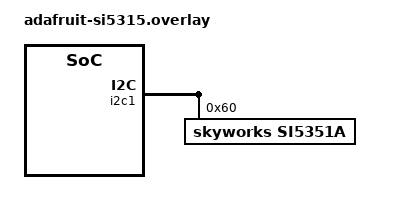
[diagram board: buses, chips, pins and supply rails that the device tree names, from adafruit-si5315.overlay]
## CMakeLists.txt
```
# SPDX-License-Identifier: Apache-2.0

cmake_minimum_required(VERSION 3.20.0)

# Set default board for west build when not specified on command line
set(BOARD esp32s3_devkitm/esp32s3/procpu CACHE STRING "Board target")

find_package(Zephyr REQUIRED HINTS $ENV{ZEPHYR_BASE})
project(si5351)

target_include_directories(app PRIVATE ${CMAKE_CURRENT_SOURCE_DIR}/src)

target_sources(app PRIVATE
  src/Si5351.cpp
  src/AD9850.cpp
  src/main.cpp
  src/shell-commands.cpp
)

# Custom target for flashing remote target machine over SSH
set(toolsDirPath "${CMAKE_CURRENT_SOURCE_DIR}/tools")
set(flashScriptPath "${toolsDirPath}/remote-flash.sh")

add_custom_target(remoteFlash
  COMMAND bash ${flashScriptPath} zephyr/zephyr.bin
  WORKING_DIRECTORY ${CMAKE_BINARY_DIR}
  DEPENDS zephyr_final
)
```

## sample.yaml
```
sample:
  name: Si5351
tests:
  si5351:
    tags:
      - LED
      - gpio
    filter: dt_enabled_alias_with_parent_compat("led0", "gpio-leds")
    depends_on: gpio
    harness: led
    integration_platforms:
      - frdm_k64f
```

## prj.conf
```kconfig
# Zephyr Configuration for Si5351 Testbed
# Target: ESP32-C3
# Standard: C++20

CONFIG_MAIN_STACK_SIZE=4096
CONFIG_SHELL_STACK_SIZE=4096
CONFIG_HEAP_MEM_POOL_SIZE=8192

# C++20 support
CONFIG_CPP=y
CONFIG_STD_CPP20=y
CONFIG_GLIBCXX_LIBCPP=y

# Console & Shell
CONFIG_CONSOLE=y
CONFIG_UART_CONSOLE=y
CONFIG_SHELL=y
CONFIG_SHELL_PROMPT_UART="si5351:~$ "

# Peripherals
CONFIG_GPIO=y
CONFIG_I2C=y
CONFIG_I2C_SHELL=y

# Formatting / Printf
CONFIG_CBPRINTF_FP_SUPPORT=y
```

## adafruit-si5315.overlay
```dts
&i2c1 {

  si5351a: si5351a@60 {
    label = "SI5351A";
    compatible = "skyworks,si5351a";
    reg = <0x60>;
    size = <256>;
    status = "okay";
  };
};

target_si5351a: &si5151a{};
```

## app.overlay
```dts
/*
 * Devicetree overlay for Si5351A on ESP32-C3
 * Custom hardware pin mapping: SCL -> GPIO4, SDA -> GPIO5
 */

#include <zephyr/dt-bindings/pinctrl/esp-pinctrl-common.h>
#include <dt-bindings/pinctrl/esp32s3-pinctrl.h>

/ {
	chosen {
		zephyr,console = &usb_serial;
		zephyr,shell-uart = &usb_serial;
	};
};

&usb_serial {
	status = "okay";
};

&pinctrl {
	i2c0_custom: i2c0_custom {
		group1 {
			pinmux = <I2C0_SCL_GPIO4>,
				 <I2C0_SDA_GPIO5>;
			bias-pull-up;
			drive-open-drain;
			output-high;
		};
	};
};

&i2c0 {
	status = "okay";
	clock-frequency = <I2C_BITRATE_STANDARD>;
	pinctrl-0 = <&i2c0_custom>;
	pinctrl-names = "default";

	si5351a: si5351a@60 {
		compatible = "skyworks,si5351a";
		reg = <0x60>;
		status = "okay";
	};
};
```

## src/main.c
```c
#include <stdio.h>
#include <zephyr/kernel.h>
#include <zephyr/device.h>
#include <zephyr/drivers/i2c.h>

// I2C bus address of the SI5351A
enum {
  SI5351_I2C_ADDRESS = 0x60,
};

// I2C addresses within the SI5351A.
enum {
  SI5351_deviceStatus = 0,
};


static const struct device *i2cDev = DEVICE_DT_GET(DT_NODELABEL(i2c1));


// NOTE: I2C is not thread safe.
int main(void) {
  int st;

  if (i2cDev == NULL || !device_is_ready(i2cDev)) {
    printf("Could not get I2C device\n");
    return -1;
  }

  uint8_t devStatus = 0;
  st = i2c_reg_read_byte(i2cDev, SI5351_I2C_ADDRESS, SI5351_deviceStatus, &devStatus);

  if (st) {
    printf("Unable to get SI5351A device status register (0) (err %i)\n", st);
    return -1;
  }

  printf("SI5351A device_status=%02X\n", (int) devStatus);

  uint8_t regs[256];
  
  st = i2c_burst_read(i2cDev, SI5351_I2C_ADDRESS, 0, regs, sizeof(regs));

  if (st) {
    printf("Unable to burst read all SI5351A registers (err %i)\n", st);
    return -1;
  }

  printf("\nSI5351 Registers:");
  for (int k=0; k < 256; ++k) {
    if (k % 16 == 0) printf("\n%02X: ", k);
    printf("%02X ", regs[k]);
  }

  printf("\n");
  return 0;
}
```

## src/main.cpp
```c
#include <zephyr/kernel.h>
#include <zephyr/drivers/i2c.h>
#include <zephyr/logging/log.h>
#include "Si5351.hpp"
#include "AD9850.hpp"
#include "shell-commands.hpp"

LOG_MODULE_REGISTER(main, LOG_LEVEL_INF);

Si5351 gSi5351;
const struct i2c_dt_spec gI2CSpec = I2C_DT_SPEC_GET(DT_NODELABEL(si5351a));

int main(void) {
  LOG_INF("Starting Si5351 & AD9850 C++20 Zephyr Shell Testbed...");

  // Auto-initialize AD9850 DDS (harmless if not present)
  gDDS.init();

  if (!i2c_is_ready_dt(&gI2CSpec)) {
    LOG_ERR("I2C device %s is NOT ready! Check hardware wiring.", gI2CSpec.bus->name);
  } else {
    LOG_INF("I2C bus %s ready. Initializing Si5351...", gI2CSpec.bus->name);
    // Auto-initialize with calibrated 25.997050 MHz TCXO reference clock and 14.0956 MHz (20m WSPR band base)
    if (!gSi5351.init(&gI2CSpec, 25997050, 14095600)) {
      LOG_WRN("Si5351 auto-init failed. You can use 'si5351 init' in the shell to retry.");
    }
  }

  LOG_INF("Zephyr shell active. Type 'si5351 help' or 'dds help' for commands.");
  return 0;
}
```

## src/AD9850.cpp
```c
#include "AD9850.hpp"
#include <zephyr/drivers/gpio.h>
#include <zephyr/logging/log.h>

LOG_MODULE_REGISTER(AD9850, LOG_LEVEL_INF);

AD9850 gDDS;

AD9850::AD9850()
    : gpioDev(nullptr), currentFreqHz(0), refClockHz(125000000),
      currentPhase(0), currentPowerDown(false), initialized(false) {}

bool AD9850::init() {
  gpioDev = DEVICE_DT_GET(DT_NODELABEL(gpio0));
  if (!device_is_ready(gpioDev)) {
    LOG_ERR("GPIO0 device not ready. Cannot initialize AD9850.");
    return false;
  }

  // Configure control and data pins as outputs
  gpio_pin_configure(gpioDev, pinRESET, GPIO_OUTPUT_INACTIVE);
  gpio_pin_configure(gpioDev, pinDATA, GPIO_OUTPUT_INACTIVE);
  gpio_pin_configure(gpioDev, pinWCLK, GPIO_OUTPUT_INACTIVE);
  gpio_pin_configure(gpioDev, pinFQUD, GPIO_OUTPUT_INACTIVE);

  // AD9850 Serial Mode Initialization Sequence:
  // 1. Reset high, then low
  gpio_pin_set(gpioDev, pinRESET, 1);
  k_busy_wait(10); // 10 microseconds
  gpio_pin_set(gpioDev, pinRESET, 0);
  k_busy_wait(10);

  // 2. Pulse WCLK high, then low
  gpio_pin_set(gpioDev, pinWCLK, 1);
  k_busy_wait(1);
  gpio_pin_set(gpioDev, pinWCLK, 0);
  k_busy_wait(1);

  // 3. Pulse FQUD high, then low
  gpio_pin_set(gpioDev, pinFQUD, 1);
  k_busy_wait(1);
  gpio_pin_set(gpioDev, pinFQUD, 0);
  k_busy_wait(1);

  initialized = true;
  LOG_INF("AD9850 initialized in Serial Mode. Pins: RESET=%u, DATA=%u, WCLK=%u, FQUD=%u",
          pinRESET, pinDATA, pinWCLK, pinFQUD);

  // Set default output to 10 MHz
  setFreq(10000000);
  return true;
}

void AD9850::setFreq(uint32_t freqHz) {
  setFreqCustomRef(freqHz, refClockHz);
}

void AD9850::setFreqCustomRef(uint32_t freqHz, uint32_t refClkHz) {
  currentFreqHz = freqHz;
  refClockHz = refClkHz;

  if (refClockHz == 0) return;

  // Calculate 32-bit Frequency Tuning Word (FTW):
  // FTW = (freqHz * 2^32) / refClockHz
  uint64_t numerator = (static_cast<uint64_t>(freqHz) << 32);
  uint32_t tuningWord = static_cast<uint32_t>((numerator + (refClockHz / 2)) / refClockHz);

  write40Bits(tuningWord, currentPhase, currentPowerDown);
}

void AD9850::setPhaseAndPower(uint8_t phaseVal, bool powerDown) {
  currentPhase = phaseVal & 0x1F; // 5 bits (0..31)
  currentPowerDown = powerDown;

  setFreq(currentFreqHz);
}

void AD9850::write40Bits(uint32_t tuningWord, uint8_t phaseVal, bool powerDown) {
  if (!initialized) return;

  // 1. Send the 32-bit Frequency Tuning Word (LSB first)
  for (int i = 0; i < 32; ++i) {
    uint8_t bit = (tuningWord >> i) & 0x01;
    gpio_pin_set(gpioDev, pinDATA, bit);
    gpio_pin_set(gpioDev, pinWCLK, 1);
    // Standard GPIO operations have enough delay, but let's be safe
    gpio_pin_set(gpioDev, pinWCLK, 0);
  }

  // 2. Send the 8-bit Control/Phase byte (LSB first)
  // W32: 0 (test)
  // W33: 0 (test)
  // W34: Power down
  // W35..W39: Phase (5 bits)
  uint8_t controlByte = 0;
  if (powerDown) {
    controlByte |= (1 << 2); // W34 is Bit 2
  }
  controlByte |= ((phaseVal & 0x1F) << 3); // W35..W39 are Bits 3..7

  for (int i = 0; i < 8; ++i) {
    uint8_t bit = (controlByte >> i) & 0x01;
    gpio_pin_set(gpioDev, pinDATA, bit);
    gpio_pin_set(gpioDev, pinWCLK, 1);
    gpio_pin_set(gpioDev, pinWCLK, 0);
  }

  // 3. Pulse FQUD to latch the 40 bits into the active DDS register
  gpio_pin_set(gpioDev, pinFQUD, 1);
  gpio_pin_set(gpioDev, pinFQUD, 0);

  LOG_DBG("AD9850 update: FTW=0x%08X, Phase=%u, PD=%d", tuningWord, phaseVal, powerDown);
}
```

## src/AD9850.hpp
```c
#ifndef AD9850_HPP
#define AD9850_HPP

#include <stdint.h>
#include <zephyr/device.h>
#include <zephyr/drivers/gpio.h>

class AD9850 {
public:
  AD9850();

  // Initializes the GPIO pins and puts the AD9850 into Serial Write Mode
  bool init();

  // Sets the output frequency in Hz (assuming 125 MHz reference clock by default)
  void setFreq(uint32_t freqHz);

  // Sets frequency with custom reference clock in Hz
  void setFreqCustomRef(uint32_t freqHz, uint32_t refClockHz);

  // Sets phase (0..31 corresponding to 0..360 degrees) and power down state
  void setPhaseAndPower(uint8_t phaseVal, bool powerDown);

  // Getters for status
  uint32_t getFreqHz() const { return currentFreqHz; }
  uint32_t getRefClockHz() const { return refClockHz; }
  uint8_t getPhase() const { return currentPhase; }
  bool isPowerDown() const { return currentPowerDown; }

private:
  void write40Bits(uint32_t tuningWord, uint8_t phaseVal, bool powerDown);

  const struct device *gpioDev;
  uint32_t currentFreqHz;
  uint32_t refClockHz;
  uint8_t currentPhase;
  bool currentPowerDown;
  bool initialized;

  // Pin definitions (ESP32-S3 GPIO pins 10..13)
  static constexpr gpio_pin_t pinRESET = 10;
  static constexpr gpio_pin_t pinDATA = 11;
  static constexpr gpio_pin_t pinWCLK = 12;
  static constexpr gpio_pin_t pinFQUD = 13;
};

// Global instance of the DDS controller
extern AD9850 gDDS;

#endif // AD9850_HPP
```

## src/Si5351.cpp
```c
#include "Si5351.hpp"
#include <zephyr/sys/util.h>
#include <zephyr/logging/log.h>
#include <string.h>

LOG_MODULE_REGISTER(si5351, LOG_LEVEL_INF);

Si5351::Si5351() {
  tcxoFreqHz = 0;
  pllFreqHz = 883899700;

  for (int i = 0; i < 8; ++i) {
    clkBaseFreqHz[i] = 0;
    clkOffsetMilliHz[i] = 0;
    clkPhaseOffset[i] = 0;
    msInteger[i] = 0;
    msNumerator[i] = 0;
    msDenominator[i] = max20BitValue;
  }
}

Si5351::~Si5351() {}

bool Si5351::init(const struct i2c_dt_spec *spec, uint32_t tcxoFreq, uint32_t baseFreqHz) {
  i2cSpec = spec;
  if (!i2cSpec || !i2c_is_ready_dt(i2cSpec)) {
    LOG_ERR("I2C bus device not ready");
    return false;
  }

  tcxoFreqHz = tcxoFreq;

  // 1. Silence all clock outputs during initialization (Reg 3 = 0xFF)
  writeRegister(regOutputControl, 0xFF);

  // 2. Clear tracked state, power down (0x80), and zero out MultiSynth parameters for all 8 channels initially
  for (uint8_t i = 0; i < 8; ++i) {
    clkBaseFreqHz[i] = 0;
    clkOffsetMilliHz[i] = 0;
    clkPhaseOffset[i] = 0;
    msInteger[i] = 0;
    msNumerator[i] = 0;
    msDenominator[i] = max20BitValue;
    writeRegister(regCLKControlBase + i, 0x80);
    writeSynthParams(regMultiSynthBase + (i * 8), 0, 0, max20BitValue);
  }

  // 3. Disable hardware OEB pins so they do not override software output control
  writeRegister(9, 0xFF);

  // 4. Disable internal crystal load capacitance for external TCXO input (0 pF per Skyworks AN619)
  writeRegister(regCrystalLoad, 0x12);

  // 5. Disable spread spectrum
  writeRegister(149, 0x00);

  // 6. Configure master PLL-A to pure integer multiplier 34 (~883.9 MHz) relative to reference frequency
  setupPLLA(pllFreqHz, tcxoFreqHz);

  // 7. Initialize default active channel output CLK0 (strictly 2mA drive strength):
  setFreq(0, baseFreqHz);
  writeRegister(regCLKControlBase + 0, 0x0C);

  // 8. Reset master PLLA once at initialization to align internal accumulators
  writeRegister(regPLLReset, 0x20);

  // 9. Keep all clock outputs initially disabled (Reg 3 = 0xFF)
  writeRegister(regOutputControl, 0xFF);

  initialized = true;
  LOG_INF("Si5351 initialized successfully. Ref=%u Hz, Base=%u Hz, PLL=%u Hz (Pure Integer PLLA)",
          tcxoFreqHz, baseFreqHz, pllFreqHz);
  return true;
}

bool Si5351::setRefFreq(uint32_t refFreqHz) {
  if (!i2cSpec || !i2c_is_ready_dt(i2cSpec) || refFreqHz == 0) return false;

  tcxoFreqHz = refFreqHz;

  // Recalculate pure integer master PLLA settings (b=0)
  setupPLLA(pllFreqHz, tcxoFreqHz);

  // Recalculate integer MultiSynth parameters for active channels
  for (uint8_t clk = 0; clk < 8; ++clk) {
    if (clkBaseFreqHz[clk] > 0) {
      msInteger[clk] = pllFreqHz / clkBaseFreqHz[clk];
      msNumerator[clk] = 0;
      msDenominator[clk] = max20BitValue;
      updateMultiSynthDividers(clk);
    }
  }

  writeRegister(regPLLReset, 0x20);
  LOG_INF("Si5351 reference frequency updated to %u Hz (PLL=%u Hz).", tcxoFreqHz, pllFreqHz);
  return true;
}

void Si5351::setPLLA(uint32_t mult, uint32_t num, uint32_t denom) {
  if (denom == 0) denom = 1;
  uint32_t a = mult;
  uint32_t b = num;
  uint32_t c = denom;

  pllFreqHz = tcxoFreqHz * a + static_cast<uint32_t>((static_cast<uint64_t>(tcxoFreqHz) * b) / c);

  writeSynthParams(regPLLABase, a, b, c);
  writeRegister(regPLLReset, 0x20);

  for (uint8_t clk = 0; clk < 8; ++clk) {
    if (clkBaseFreqHz[clk] > 0) {
      updateMultiSynthDividers(clk);
    }
  }
  LOG_INF("PLLA updated manually to %u + %u/%u (PLL=%u Hz).", a, b, c, pllFreqHz);
}

bool Si5351::setFreq(uint8_t clk, uint32_t freqHz) {
  if (clk > 7 || freqHz == 0) return false;
  clkBaseFreqHz[clk] = freqHz;

  // Pick an even integer MultiSynth divider candidate (multiple of 6) so both clk0/1 (integer a)
  // and clk2/3 (integer a/3) use pure integer MultiSynth dividers with b_ms=0!
  uint32_t bestN = 60;
  uint32_t targetVCO = 850000000;
  uint32_t minDiff = 0xFFFFFFFF;

  for (uint32_t candidate = 12; candidate <= 252; candidate += 6) {
    uint64_t vco = static_cast<uint64_t>(candidate) * freqHz;
    if (vco >= 600000000ULL && vco <= 900000000ULL) {
      uint32_t diff = (vco > targetVCO) ? static_cast<uint32_t>(vco - targetVCO)
                                        : static_cast<uint32_t>(targetVCO - vco);
      if (diff < minDiff) {
        minDiff = diff;
        bestN = candidate;
      }
    }
  }

  uint32_t newPLLFreq = bestN * freqHz;
  bool pllChanged = (newPLLFreq != pllFreqHz);
  pllFreqHz = newPLLFreq;

  // MultiSynth is ALWAYS a pure integer (b=0) to eliminate output stage phase noise spurs
  msInteger[clk] = pllFreqHz / freqHz;
  msNumerator[clk] = 0;
  msDenominator[clk] = max20BitValue;

  // Re-setup PLLA for the exact target PLL frequency (allows fractional PLLA multiplier for exact RF frequency)
  setupPLLA(pllFreqHz, tcxoFreqHz);

  // Configure clock control register for this output
  uint8_t currentCtrl = readRegister(regCLKControlBase + clk);
  uint8_t invertBit = currentCtrl & 0x10;
  uint8_t driveBits = (currentCtrl & 0x80) ? 0x00 : (currentCtrl & 0x03);
  writeRegister(regCLKControlBase + clk, 0x0C | invertBit | driveBits);

  updateMultiSynthDividers(clk);

  // Reset PLL when PLL frequency changes to align accumulators
  if (pllChanged) {
    writeRegister(regPLLReset, 0x20);
  }
  return true;
}

void Si5351::tuneOffset(uint8_t clk, int32_t milliHzOffset) {
  if (clk > 7 || clkBaseFreqHz[clk] == 0) return;
  clkOffsetMilliHz[clk] = milliHzOffset;

  // Modulate PLLA frequency atomically over I2C burst WITHOUT PLL reset!
  // MultiSynth divider msInteger[clk] stays a pure integer (b=0) everywhere to eliminate phase noise spurs.
  int64_t pllOffsetMilliHz = static_cast<int64_t>(msInteger[clk]) * milliHzOffset;
  int64_t targetPLLMilliHz = static_cast<int64_t>(pllFreqHz) * 1000LL + pllOffsetMilliHz;

  if (targetPLLMilliHz <= 0 || tcxoFreqHz == 0) return;

  uint64_t refMilliHz = static_cast<uint64_t>(tcxoFreqHz) * 1000ULL;
  uint32_t a_pll = static_cast<uint32_t>(targetPLLMilliHz / refMilliHz);
  uint64_t rem = static_cast<uint64_t>(targetPLLMilliHz % refMilliHz);
  uint32_t b_pll = static_cast<uint32_t>((rem * max20BitValue) / refMilliHz);
  uint32_t c_pll = max20BitValue;

  writeSynthParams(regPLLABase, a_pll, b_pll, c_pll);
}

void Si5351::setPhaseOffset(uint8_t clk, uint8_t phaseUnits) {
  if (clk > 7) return;
  clkPhaseOffset[clk] = phaseUnits;

  setClockOutputsEnabled(false);
  // Assign quantization delay factor directly to target channel phase offset slot (0..127)
  // 1 unit = Tvco / 4 (~278 ps at 900 MHz VCO)
  writeRegister(regPhaseOffsetBase + clk, phaseUnits & 0x7F);

  // Reset PLLA (0x20) to lock phase shift alignment across tracking loops
  writeRegister(regPLLReset, 0x20);
  setClockOutputsEnabled(true);
}

void Si5351::setOutputEnable(uint8_t clk, bool enabled) {
  if (clk > 7) return;
  uint8_t current = readRegister(regOutputControl);
  if (enabled) {
    current &= ~(1 << clk);
  } else {
    current |= (1 << clk);
  }
  writeRegister(regOutputControl, current);
}

bool Si5351::setDriveStrengthmA(uint8_t clk, uint8_t drivemA) {
  if (clk > 7) return false;
  uint8_t bits = 0;
  switch (drivemA) {
    case 2: bits = 0x00; break;
    case 4: bits = 0x01; break;
    case 6: bits = 0x02; break;
    case 8: bits = 0x03; break;
    default: return false;
  }
  uint8_t regAddr = regCLKControlBase + clk;
  uint8_t currentCtrl = readRegister(regAddr);
  currentCtrl = (currentCtrl & ~0x03) | bits;
  writeRegister(regAddr, currentCtrl);
  return true;
}

void Si5351::setClockOutputsEnabled(bool enabled) {
  writeRegister(regOutputControl, enabled ? 0x00 : 0xFF);
}

void Si5351::writeRegister(uint8_t reg, uint8_t data) {
  if (i2cSpec && i2c_is_ready_dt(i2cSpec)) {
    i2c_reg_write_byte_dt(i2cSpec, reg, data);
  }
}

uint8_t Si5351::readRegister(uint8_t reg) {
  uint8_t data = 0;
  if (i2cSpec && i2c_is_ready_dt(i2cSpec)) {
    i2c_write_read_dt(i2cSpec, &reg, 1, &data, 1);
  }
  return data;
}

bool Si5351::burstRead(uint8_t startReg, uint8_t *buf, size_t len) {
  if (!i2cSpec || !i2c_is_ready_dt(i2cSpec)) return false;

  memset(buf, 0, len);

  // Si5351 valid readable registers are 0..187. Use 16-byte burst reads with single byte fallback.
  for (size_t offset = 0; offset < len && (startReg + offset) <= 187; offset += 16) {
    uint8_t curReg = static_cast<uint8_t>(startReg + offset);
    size_t chunk = (len - offset > 16) ? 16 : (len - offset);
    if (curReg + chunk - 1 > 187) {
      chunk = 187 - curReg + 1;
    }
    if (i2c_write_read_dt(i2cSpec, &curReg, 1, buf + offset, chunk) != 0) {
      for (size_t i = 0; i < chunk; ++i) {
        uint8_t singleReg = curReg + i;
        i2c_write_read_dt(i2cSpec, &singleReg, 1, buf + offset + i, 1);
      }
    }
  }
  return true;
}

void Si5351::scanI2CBus(const struct shell *sh) {
  if (!i2cSpec || !i2c_is_ready_dt(i2cSpec)) {
    if (sh) shell_error(sh, "I2C bus controller is NOT ready!");
    return;
  }

  if (sh) shell_print(sh, "Scanning I2C bus %s (addresses 0x08..0x77)...", i2cSpec->bus->name);
  uint8_t found = 0;
  for (uint8_t addr = 0x08; addr <= 0x77; ++addr) {
    struct i2c_msg msgs[1];
    uint8_t dummy = 0;
    msgs[0].buf = &dummy;
    msgs[0].len = 0;
    msgs[0].flags = I2C_MSG_WRITE | I2C_MSG_STOP;

    int ret = i2c_transfer(i2cSpec->bus, msgs, 1, addr);
    if (ret == 0) {
      if (sh) shell_print(sh, " -> Found I2C device at 0x%02X (%s)",
                          addr, (addr == i2cSpec->addr) ? "Configured Si5351 target" : "Other device");
      found++;
    }
  }
  if (found == 0 && sh) {
    shell_warn(sh, "No I2C devices ACKed on bus! Check SDA/SCL wiring and pullup resistors.");
  }
}

bool Si5351::readLiveGroundTruth(LiveDeviceStatus &status) {
  if (!i2cSpec || !i2c_is_ready_dt(i2cSpec)) return false;

  uint8_t regs[188];
  if (!burstRead(0, regs, sizeof(regs))) {
    return false;
  }

  status.statusReg0 = regs[regDeviceStatus];
  status.sysInit = (status.statusReg0 & (1 << 7)) != 0;
  status.lolB = (status.statusReg0 & (1 << 6)) != 0;
  status.lolA = (status.statusReg0 & (1 << 5)) != 0;
  status.los = (status.statusReg0 & (1 << 4)) != 0;
  status.revId = status.statusReg0 & 0x03;

  struct DecodedSynth {
    double ratio = 0.0;
    uint32_t multOrDiv = 0;
    uint32_t num = 0;
    uint32_t denom = 0;
  };

  auto decodeSynthBlock = [&](uint8_t baseReg) -> DecodedSynth {
    uint32_t p3 = (static_cast<uint32_t>(regs[baseReg + 0]) << 8) | regs[baseReg + 1];
    uint32_t p1High = regs[baseReg + 2] & 0x03;
    uint32_t p1 = (p1High << 16) | (static_cast<uint32_t>(regs[baseReg + 3]) << 8) | regs[baseReg + 4];
    uint32_t p3High = (regs[baseReg + 5] >> 4) & 0x0F;
    p3 |= (p3High << 16);
    uint32_t p2High = regs[baseReg + 5] & 0x0F;
    uint32_t p2 = (p2High << 16) | (static_cast<uint32_t>(regs[baseReg + 6]) << 8) | regs[baseReg + 7];

    if (p3 == 0) p3 = 1;
    DecodedSynth res;
    res.denom = p3;
    uint32_t p1Val = p1 + 512;
    res.multOrDiv = p1Val / 128;
    uint32_t remP1 = p1Val % 128;
    res.num = static_cast<uint32_t>((static_cast<uint64_t>(remP1) * p3 + p2) / 128);
    res.ratio = static_cast<double>(res.multOrDiv) + (static_cast<double>(res.num) / res.denom);
    return res;
  };

  DecodedSynth pllaSynth = decodeSynthBlock(regPLLABase); // Reg 26
  DecodedSynth pllbSynth = decodeSynthBlock(regPLLBBase); // Reg 34

  status.pllaRatio = pllaSynth.ratio;
  status.pllaInteger = pllaSynth.multOrDiv;
  status.pllaNumerator = pllaSynth.num;
  status.pllaDenominator = pllaSynth.denom;

  status.pllaFreqHz = static_cast<uint32_t>(static_cast<double>(tcxoFreqHz) * status.pllaRatio);
  status.pllbFreqHz = static_cast<uint32_t>(static_cast<double>(tcxoFreqHz) * pllbSynth.ratio);

  uint8_t gateCtrl = regs[regOutputControl]; // Reg 3

  for (uint8_t c = 0; c < 8; ++c) {
    uint8_t clkCtrl = regs[regCLKControlBase + c]; // Reg 16+c
    bool gateUnmasked = (gateCtrl & (1 << c)) == 0;
    bool poweredUp = (clkCtrl & 0x80) == 0;
    status.channels[c].enabled = gateUnmasked && poweredUp;

    uint8_t drvBits = clkCtrl & 0x03;
    switch (drvBits) {
      case 0: status.channels[c].driveStrengthmA = 2; break;
      case 1: status.channels[c].driveStrengthmA = 4; break;
      case 2: status.channels[c].driveStrengthmA = 6; break;
      case 3: status.channels[c].driveStrengthmA = 8; break;
    }

    status.channels[c].inverted = (clkCtrl & 0x10) != 0;
    status.channels[c].usesPLLB = (clkCtrl & 0x20) != 0;
    status.channels[c].phaseOffsetUnits = regs[regPhaseOffsetBase + c] & 0x7F;

    if (poweredUp) {
      DecodedSynth msSynth = decodeSynthBlock(regMultiSynthBase + (c * 8));
      status.channels[c].msRatio = msSynth.ratio;
      status.channels[c].msInteger = msSynth.multOrDiv;
      status.channels[c].msNumerator = msSynth.num;
      status.channels[c].msDenominator = msSynth.denom;

      double pllUsed = status.channels[c].usesPLLB ? status.pllbFreqHz : status.pllaFreqHz;
      if (msSynth.ratio > 0) {
        status.channels[c].decodedFreqHz = static_cast<uint32_t>(pllUsed / msSynth.ratio);
      } else {
        status.channels[c].decodedFreqHz = 0;
      }
    } else {
      status.channels[c].msRatio = 0.0;
      status.channels[c].msInteger = 0;
      status.channels[c].msNumerator = 0;
      status.channels[c].msDenominator = 0;
      status.channels[c].decodedFreqHz = 0;
    }
  }

  return true;
}

uint8_t Si5351::getDeviceStatus() {
  return readRegister(regDeviceStatus);
}

uint32_t Si5351::getBaseFreq(uint8_t clk) const {
  return (clk < 8) ? clkBaseFreqHz[clk] : 0;
}

int32_t Si5351::getOffsetMilliHz(uint8_t clk) const {
  return (clk < 8) ? clkOffsetMilliHz[clk] : 0;
}

bool Si5351::isOutputEnabled(uint8_t clk) {
  if (clk > 7) return false;
  uint8_t oeReg = readRegister(regOutputControl);
  uint8_t clkCtrlReg = readRegister(regCLKControlBase + clk);
  bool gateEnabled = (oeReg & (1 << clk)) == 0;
  bool powerUp = (clkCtrlReg & 0x80) == 0;
  return gateEnabled && powerUp;
}

uint8_t Si5351::getDriveStrengthmA(uint8_t clk) {
  if (clk > 7) return 0;
  uint8_t clkCtrlReg = readRegister(regCLKControlBase + clk);
  uint8_t drvBits = clkCtrlReg & 0x03;
  switch (drvBits) {
    case 0: return 2;
    case 1: return 4;
    case 2: return 6;
    case 3: return 8;
    default: return 2;
  }
}

void Si5351::setupPLLA(uint32_t targetPLLFreqHz, uint32_t refFreqHz) {
  if (refFreqHz == 0) return;
  uint32_t a = targetPLLFreqHz / refFreqHz;
  uint64_t rem = targetPLLFreqHz % refFreqHz;
  uint32_t b = static_cast<uint32_t>((rem * max20BitValue) / refFreqHz);
  uint32_t c = max20BitValue;

  pllFreqHz = refFreqHz * a + static_cast<uint32_t>((static_cast<uint64_t>(refFreqHz) * b) / c);

  writeSynthParams(regPLLABase, a, b, c);
}

void Si5351::updateMultiSynthDividers(uint8_t clk) {
  if (clk > 7) return;
  uint8_t baseReg = regMultiSynthBase + (clk * 8);
  writeSynthParams(baseReg, msInteger[clk], msNumerator[clk], msDenominator[clk]);
}

void Si5351::writeSynthParams(uint8_t baseReg, uint32_t multOrDiv, uint32_t num, uint32_t denom, bool divBy4) {
  if (denom == 0) denom = 1;

  uint32_t p1 = 128 * multOrDiv + static_cast<uint32_t>((128ULL * num) / denom) - 512;
  uint32_t p2 = static_cast<uint32_t>(128ULL * num - denom * ((128ULL * num) / denom));
  uint32_t p3 = denom;

  uint8_t p1_17_16 = static_cast<uint8_t>((p1 >> 16) & 0x03);
  uint8_t div4Bits = divBy4 ? 0x0C : 0x00;

  uint8_t params[8];
  params[0] = static_cast<uint8_t>((p3 >> 8) & 0xFF);
  params[1] = static_cast<uint8_t>(p3 & 0xFF);
  params[2] = div4Bits | p1_17_16;
  params[3] = static_cast<uint8_t>((p1 >> 8) & 0xFF);
  params[4] = static_cast<uint8_t>(p1 & 0xFF);
  params[5] = static_cast<uint8_t>(((p3 >> 16) & 0x0F) << 4 | ((p2 >> 16) & 0x0F));
  params[6] = static_cast<uint8_t>((p2 >> 8) & 0xFF);
  params[7] = static_cast<uint8_t>(p2 & 0xFF);

  if (i2cSpec && i2c_is_ready_dt(i2cSpec)) {
    i2c_burst_write_dt(i2cSpec, baseReg, params, 8);
  }
}
```

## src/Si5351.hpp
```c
#pragma once
#include <cstdint>
#include <cstddef>
#include <zephyr/drivers/i2c.h>
#include <zephyr/shell/shell.h>

struct LiveChannelStatus {
  bool enabled = false;
  uint8_t driveStrengthmA = 0;
  bool inverted = false;
  bool usesPLLB = false;
  uint32_t decodedFreqHz = 0;
  uint8_t phaseOffsetUnits = 0;
  double msRatio = 0.0;
  uint32_t msInteger = 0;
  uint32_t msNumerator = 0;
  uint32_t msDenominator = 0;
};

struct LiveDeviceStatus {
  uint8_t statusReg0 = 0;
  bool sysInit = false;
  bool lolA = false;
  bool lolB = false;
  bool los = false;
  uint8_t revId = 0;
  uint32_t pllaFreqHz = 0;
  uint32_t pllbFreqHz = 0;
  double pllaRatio = 0.0;
  uint32_t pllaInteger = 0;
  uint32_t pllaNumerator = 0;
  uint32_t pllaDenominator = 0;
  LiveChannelStatus channels[8];
};

class Si5351 {
public:
  Si5351();
  ~Si5351();

  // Initializes reference parameters and master PLL-A
  bool init(const struct i2c_dt_spec *spec, uint32_t tcxoFreqHz, uint32_t baseFreqHz);

  // Dynamically updates reference clock frequency in Hz, atomically recalculating dividers while preserving channel states
  bool setRefFreq(uint32_t refFreqHz);

  // Directly configures PLLA multiplier, numerator, and denominator for testing fractional spurs
  void setPLLA(uint32_t mult, uint32_t num, uint32_t denom = 1048575);

  // Set frequency for specific clock output (0..7)
  bool setFreq(uint8_t clk, uint32_t freqHz);

  // Dynamically tunes milliHz frequency offset via phase-continuous atomic PLLA modulation over I2C burst
  void tuneOffset(uint8_t clk, int32_t milliHzOffset);
  void tuneWSPROffset(uint8_t clk, int32_t milliHzOffset) { tuneOffset(clk, milliHzOffset); }

  // Sets static phase offset for specific clock output (0..7)
  void setPhaseOffset(uint8_t clk, uint8_t phaseUnits);

  // Enable/disable specific clock output (0..7)
  void setOutputEnable(uint8_t clk, bool enabled);

  // Sets drive strength (2, 4, 6, or 8 mA) for specific clock output (0..7)
  bool setDriveStrengthmA(uint8_t clk, uint8_t drivemA);

  // Reads live hardware registers via burst read and decodes ground truth status
  bool readLiveGroundTruth(LiveDeviceStatus &status);

  // Scans all I2C addresses on the bus and reports responding devices
  void scanI2CBus(const struct shell *sh);

  // Legacy/Global helpers
  bool isInitialized() const { return initialized; }
  void setClockOutputsEnabled(bool enabled);
  void writeRegister(uint8_t reg, uint8_t data);
  uint8_t readRegister(uint8_t reg);
  bool burstRead(uint8_t startReg, uint8_t *buf, size_t len);
  uint8_t getDeviceStatus();
  
  uint32_t getRefFreq() const { return tcxoFreqHz; }
  uint32_t getBaseFreq(uint8_t clk = 0) const;
  uint32_t getPLLFreq() const { return pllFreqHz; }
  int32_t getOffsetMilliHz(uint8_t clk = 0) const;
  bool isOutputEnabled(uint8_t clk);
  uint8_t getDriveStrengthmA(uint8_t clk);

private:
  void updateMultiSynthDividers(uint8_t clk);
  void setupPLLA(uint32_t targetPLLFreqHz, uint32_t refFreqHz);
  void writeSynthParams(uint8_t baseReg, uint32_t multOrDiv, uint32_t num, uint32_t denom, bool divBy4 = false);

  static constexpr uint8_t regDeviceStatus = 0;
  static constexpr uint8_t regOutputControl = 3;
  static constexpr uint8_t regCLKControlBase = 16;
  static constexpr uint8_t regPLLABase = 26;
  static constexpr uint8_t regPLLBBase = 34;
  static constexpr uint8_t regMultiSynthBase = 42;
  static constexpr uint8_t regPhaseOffsetBase = 165;
  static constexpr uint8_t regPLLReset = 177;
  static constexpr uint8_t regCrystalLoad = 183;
  static constexpr uint32_t max20BitValue = 1048575;

  const struct i2c_dt_spec *i2cSpec = nullptr;
  bool initialized = false;

  uint32_t tcxoFreqHz = 0;
  uint32_t pllFreqHz = 883899700;

  uint32_t clkBaseFreqHz[8] = {0};
  int32_t clkOffsetMilliHz[8] = {0};
  uint8_t clkPhaseOffset[8] = {0};

  uint32_t msInteger[8] = {0};
  uint32_t msNumerator[8] = {0};
  uint32_t msDenominator[8] = {0};
};
```

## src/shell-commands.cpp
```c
#include "shell-commands.hpp"
#include "AD9850.hpp"
#include <zephyr/kernel.h>
#include <zephyr/shell/shell.h>
#include <stdlib.h>
#include <stdio.h>

static int cmdInit(const struct shell *sh, size_t argc, char **argv) {
  uint32_t refHz = 25997050;
  uint32_t baseHz = 14095600;

  if (argc > 1) {
    refHz = strtoul(argv[1], NULL, 0);
  }
  if (argc > 2) {
    baseHz = strtoul(argv[2], NULL, 0);
  }

  shell_print(sh, "Initializing Si5351 (Ref: %.6f MHz, Base: %.6f MHz)...",
              static_cast<double>(refHz) / 1000000.0, static_cast<double>(baseHz) / 1000000.0);
  if (gSi5351.init(&gI2CSpec, refHz, baseHz)) {
    shell_print(sh, "Si5351 initialization SUCCESS.");
  } else {
    shell_error(sh, "Si5351 initialization FAILED (Check I2C connections/address).");
    return -EIO;
  }
  return 0;
}

static int cmdFreq(const struct shell *sh, size_t argc, char **argv) {
  if (argc < 3) {
    shell_error(sh, "Usage: si5351 freq <clk_0_to_7> <freq_hz>");
    return -EINVAL;
  }
  uint8_t clk = static_cast<uint8_t>(strtoul(argv[1], NULL, 0));
  uint32_t freqHz = strtoul(argv[2], NULL, 0);

  if (clk > 7) {
    shell_error(sh, "Invalid clock output channel: %u (must be 0..7)", clk);
    return -EINVAL;
  }

  shell_print(sh, "Setting CLK%u frequency to %.6f MHz...", clk, static_cast<double>(freqHz) / 1000000.0);
  if (gSi5351.setFreq(clk, freqHz)) {
    shell_print(sh, "CLK%u frequency updated.", clk);
  } else {
    shell_error(sh, "Failed to set CLK%u frequency.", clk);
    return -EIO;
  }
  return 0;
}

static int cmdOffset(const struct shell *sh, size_t argc, char **argv) {
  if (argc < 3) {
    shell_error(sh, "Usage: si5351 offset <clk_0_to_7> <milliHz_offset>");
    return -EINVAL;
  }
  uint8_t clk = static_cast<uint8_t>(strtoul(argv[1], NULL, 0));
  int32_t mhz = strtol(argv[2], NULL, 0);

  if (clk > 7) {
    shell_error(sh, "Invalid clock output channel: %u (must be 0..7)", clk);
    return -EINVAL;
  }

  shell_print(sh, "Tuning CLK%u offset to %d milliHz via phase-continuous atomic PLLA burst...", clk, mhz);
  gSi5351.tuneOffset(clk, mhz);
  return 0;
}

static int cmdPhase(const struct shell *sh, size_t argc, char **argv) {
  if (argc < 3) {
    shell_error(sh, "Usage: si5351 phase <clk_0_to_7> <units_0_to_127>");
    return -EINVAL;
  }
  uint8_t clk = static_cast<uint8_t>(strtoul(argv[1], NULL, 0));
  uint8_t phase = static_cast<uint8_t>(strtoul(argv[2], NULL, 0));

  if (clk > 7) {
    shell_error(sh, "Invalid clock output channel: %u (must be 0..7)", clk);
    return -EINVAL;
  }

  shell_print(sh, "Setting CLK%u phase offset to %u units...", clk, phase);
  gSi5351.setPhaseOffset(clk, phase);
  return 0;
}

static int cmdEnable(const struct shell *sh, size_t argc, char **argv) {
  if (argc < 3) {
    shell_error(sh, "Usage: si5351 enable <clk_0_to_7> <0|1>");
    return -EINVAL;
  }
  uint8_t clk = static_cast<uint8_t>(strtoul(argv[1], NULL, 0));
  bool en = strtoul(argv[2], NULL, 0) != 0;

  if (clk > 7) {
    shell_error(sh, "Invalid clock output channel: %u (must be 0..7)", clk);
    return -EINVAL;
  }

  gSi5351.setOutputEnable(clk, en);
  shell_print(sh, "CLK%u output %s", clk, en ? "ENABLED" : "DISABLED");
  return 0;
}

static int cmdDrive(const struct shell *sh, size_t argc, char **argv) {
  if (argc < 3) {
    shell_error(sh, "Usage: si5351 drive <clk_0_to_7> <2|4|6|8>");
    return -EINVAL;
  }
  uint8_t clk = static_cast<uint8_t>(strtoul(argv[1], NULL, 0));
  uint8_t drv = static_cast<uint8_t>(strtoul(argv[2], NULL, 0));

  if (clk > 7) {
    shell_error(sh, "Invalid clock output channel: %u (must be 0..7)", clk);
    return -EINVAL;
  }

  if (!gSi5351.setDriveStrengthmA(clk, drv)) {
    shell_error(sh, "Invalid drive strength: %umA (must be 2, 4, 6, or 8)", drv);
    return -EINVAL;
  }

  shell_print(sh, "CLK%u drive strength set to %umA", clk, drv);
  return 0;
}

static int cmdStatus(const struct shell *sh, size_t argc, char **argv) {
  LiveDeviceStatus live;
  if (!gSi5351.readLiveGroundTruth(live)) {
    shell_error(sh, "Failed to read live hardware ground truth from Si5351 over I2C.");
    return -EIO;
  }

  shell_print(sh, "--- Si5351 Live Ground Truth Status ---");
  shell_print(sh, "Status Register (0): 0x%02X", live.statusReg0);
  shell_print(sh, "  SYS_INIT: %s", live.sysInit ? "In progress" : "Ready");
  shell_print(sh, "  LOL_B:    %s", live.lolB ? "Unlocked" : "Locked");
  shell_print(sh, "  LOL_A:    %s", live.lolA ? "Unlocked" : "Locked");
  shell_print(sh, "  LOS:      %s", live.los ? "Loss of signal" : "Normal");
  shell_print(sh, "  REV_ID:   0x%X", live.revId);

  shell_print(sh, "Ref Freq:  %.6f MHz (%u Hz)", static_cast<double>(gSi5351.getRefFreq()) / 1000000.0, gSi5351.getRefFreq());
  shell_print(sh, "PLLA Freq: %.6f MHz (Mult: %u + %u/%u, Ratio: %.6f)",
              static_cast<double>(live.pllaFreqHz) / 1000000.0,
              live.pllaInteger, live.pllaNumerator, live.pllaDenominator, live.pllaRatio);

  if (argc > 1) {
    uint8_t clk = static_cast<uint8_t>(strtoul(argv[1], NULL, 0));
    if (clk < 8) {
      const auto &ch = live.channels[clk];
      shell_print(sh, "CLK%u Live: Freq=%.6f MHz, Offset=%d mHz, State=%s, Drive=%umA, Phase=%u, PLL=%s, Inv=%s",
                  clk, static_cast<double>(ch.decodedFreqHz) / 1000000.0,
                  gSi5351.getOffsetMilliHz(clk), ch.enabled ? "ENABLED" : "DISABLED",
                  ch.driveStrengthmA, ch.phaseOffsetUnits, ch.usesPLLB ? "PLLB" : "PLLA",
                  ch.inverted ? "YES" : "NO");
      shell_print(sh, "  MS Divider: %u + %u/%u (Ratio: %.6f)",
                  ch.msInteger, ch.msNumerator, ch.msDenominator, ch.msRatio);
    }
  } else {
    shell_print(sh, "Active Channels Live Config:");
    for (uint8_t c = 0; c < 8; ++c) {
      const auto &ch = live.channels[c];
      if (ch.decodedFreqHz > 0 || ch.enabled) {
        shell_print(sh, "  CLK%u: Freq=%.6f MHz, Offset=%d mHz, State=%s, Drive=%umA, Phase=%u, PLL=%s, Inv=%s",
                    c, static_cast<double>(ch.decodedFreqHz) / 1000000.0,
                    gSi5351.getOffsetMilliHz(c), ch.enabled ? "ENABLED" : "DISABLED",
                    ch.driveStrengthmA, ch.phaseOffsetUnits, ch.usesPLLB ? "PLLB" : "PLLA",
                    ch.inverted ? "YES" : "NO");
        shell_print(sh, "        MS Divider: %u + %u/%u (Ratio: %.6f)",
                    ch.msInteger, ch.msNumerator, ch.msDenominator, ch.msRatio);
      }
    }
  }
  return 0;
}

static int cmdRegRead(const struct shell *sh, size_t argc, char **argv) {
  if (argc < 2) {
    shell_error(sh, "Usage: si5351 reg_read <reg_addr>");
    return -EINVAL;
  }
  uint8_t reg = static_cast<uint8_t>(strtoul(argv[1], NULL, 0));
  uint8_t val = gSi5351.readRegister(reg);
  shell_print(sh, "Reg [0x%02X (%u)] = 0x%02X (%u)", reg, reg, val, val);
  return 0;
}

static int cmdRegWrite(const struct shell *sh, size_t argc, char **argv) {
  if (argc < 3) {
    shell_error(sh, "Usage: si5351 reg_write <reg_addr> <val>");
    return -EINVAL;
  }
  uint8_t reg = static_cast<uint8_t>(strtoul(argv[1], NULL, 0));
  uint8_t val = static_cast<uint8_t>(strtoul(argv[2], NULL, 0));
  gSi5351.writeRegister(reg, val);
  shell_print(sh, "Wrote 0x%02X to Reg [0x%02X]", val, reg);
  return 0;
}

static int cmdScan(const struct shell *sh, size_t argc, char **argv) {
  ARG_UNUSED(argc);
  ARG_UNUSED(argv);
  gSi5351.scanI2CBus(sh);
  return 0;
}

static int cmdDump(const struct shell *sh, size_t argc, char **argv) {
  ARG_UNUSED(argc);
  ARG_UNUSED(argv);

  uint8_t regs[256];
  if (!gSi5351.burstRead(0, regs, sizeof(regs))) {
    shell_error(sh, "Failed to burst read Si5351 registers.");
    return -EIO;
  }

  shell_print(sh, "--- Si5351 Register Map Dump (256 bytes) ---");
  shell_print(sh, "   00 01 02 03 04 05 06 07 08 09 0A 0B 0C 0D 0E 0F");
  char line[128];
  for (int row = 0; row < 16; ++row) {
    int pos = snprintf(line, sizeof(line), "%02X: ", row * 16);
    for (int col = 0; col < 16; ++col) {
      pos += snprintf(line + pos, sizeof(line) - pos, "%02X ", regs[row * 16 + col]);
    }
    shell_print(sh, "%s", line);
  }
  return 0;
}

static int cmdRef(const struct shell *sh, size_t argc, char **argv) {
  if (argc < 2) {
    shell_print(sh, "Current reference clock frequency: %u Hz (%.6f MHz)",
                gSi5351.getRefFreq(), static_cast<double>(gSi5351.getRefFreq()) / 1000000.0);
    shell_print(sh, "Usage to set: si5351 ref <ref_hz_in_hz>");
    return 0;
  }
  uint32_t refHz = strtoul(argv[1], NULL, 0);
  if (refHz == 0) {
    shell_error(sh, "Invalid reference frequency in Hz.");
    return -EINVAL;
  }

  shell_print(sh, "Updating reference clock frequency to %u Hz (%.6f MHz)...",
              refHz, static_cast<double>(refHz) / 1000000.0);
  if (gSi5351.setRefFreq(refHz)) {
    shell_print(sh, "Reference frequency updated atomically. Channel output states preserved.");
  } else {
    shell_error(sh, "Failed to update reference frequency.");
    return -EIO;
  }
  return 0;
}

static int cmdPLL(const struct shell *sh, size_t argc, char **argv) {
  if (argc < 3) {
    shell_error(sh, "Usage: si5351 pll <mult_int> <num> [denom (default 1048575)]");
    return -EINVAL;
  }
  uint32_t mult = strtoul(argv[1], NULL, 0);
  uint32_t num = strtoul(argv[2], NULL, 0);
  uint32_t denom = (argc > 3) ? strtoul(argv[3], NULL, 0) : 1048575;

  shell_print(sh, "Setting PLLA to %u + %u/%u...", mult, num, denom);
  gSi5351.setPLLA(mult, num, denom);
  shell_print(sh, "PLLA set. Check output spectrum and 'si5351 status'.");
  return 0;
}

SHELL_STATIC_SUBCMD_SET_CREATE(subSi5351,
  SHELL_CMD(init, NULL, "Initialize Si5351 [ref_hz] [base_hz]", cmdInit),
  SHELL_CMD(ref, NULL, "View or set reference clock frequency in Hz: ref [ref_hz]", cmdRef),
  SHELL_CMD(pll, NULL, "Set PLLA multiplier/numerator/denominator: pll <mult> <num> [denom]", cmdPLL),
  SHELL_CMD(freq, NULL, "Set frequency for clock channel: freq <clk_0_to_7> <freq_hz>", cmdFreq),
  SHELL_CMD(offset, NULL, "Tune clock offset in milliHz: offset <clk_0_to_7> <milliHz>", cmdOffset),
  SHELL_CMD(wspr, NULL, "Tune clock offset in milliHz (alias): wspr <clk_0_to_7> <milliHz>", cmdOffset),
  SHELL_CMD(phase, NULL, "Set phase offset units: phase <clk_0_to_7> <units_0_to_127>", cmdPhase),
  SHELL_CMD(enable, NULL, "Enable/disable clock output: enable <clk_0_to_7> <0|1>", cmdEnable),
  SHELL_CMD(drive, NULL, "Set drive strength: drive <clk_0_to_7> <2|4|6|8>", cmdDrive),
  SHELL_CMD(status, NULL, "Print live hardware ground truth status & parameters [clk]", cmdStatus),
  SHELL_CMD(reg_read, NULL, "Read register byte <reg>", cmdRegRead),
  SHELL_CMD(reg_write, NULL, "Write register byte <reg> <val>", cmdRegWrite),
  SHELL_CMD(scan, NULL, "Scan I2C bus for responding hardware addresses", cmdScan),
  SHELL_CMD(dump, NULL, "Dump all 256 registers", cmdDump),
  SHELL_SUBCMD_SET_END
);

SHELL_CMD_REGISTER(si5351, &subSi5351, "Si5351 Clock Generator Commands", NULL);

static int cmdDdsInit(const struct shell *sh, size_t argc, char **argv) {
  uint32_t refHz = 125000000;
  if (argc > 1) {
    refHz = strtoul(argv[1], NULL, 0);
  }
  shell_print(sh, "Initializing AD9850 DDS (Default Ref Clock: %.3f MHz)...",
              static_cast<double>(refHz) / 1000000.0);
  
  gDDS.setPhaseAndPower(0, false);
  gDDS.setFreqCustomRef(10000000, refHz);

  if (gDDS.init()) {
    shell_print(sh, "AD9850 initialization SUCCESS.");
  } else {
    shell_error(sh, "AD9850 initialization FAILED (Check GPIO configuration).");
    return -EIO;
  }
  return 0;
}

static int cmdDdsFreq(const struct shell *sh, size_t argc, char **argv) {
  if (argc < 2) {
    shell_error(sh, "Usage: dds freq <freq_hz> [ref_hz]");
    return -EINVAL;
  }
  uint32_t freqHz = strtoul(argv[1], NULL, 0);
  uint32_t refHz = gDDS.getRefClockHz();
  if (argc > 2) {
    refHz = strtoul(argv[2], NULL, 0);
  }

  shell_print(sh, "Setting AD9850 frequency to %u Hz (%.6f MHz)...",
              freqHz, static_cast<double>(freqHz) / 1000000.0);
  gDDS.setFreqCustomRef(freqHz, refHz);
  return 0;
}

static int cmdDdsPhase(const struct shell *sh, size_t argc, char **argv) {
  if (argc < 2) {
    shell_error(sh, "Usage: dds phase <0..31>");
    return -EINVAL;
  }
  uint8_t phaseVal = static_cast<uint8_t>(strtoul(argv[1], NULL, 0));
  if (phaseVal > 31) {
    shell_error(sh, "Invalid phase value (must be 0 to 31).");
    return -EINVAL;
  }
  shell_print(sh, "Setting AD9850 phase to %u (%.2f degrees)...",
              phaseVal, static_cast<double>(phaseVal) * 11.25);
  gDDS.setPhaseAndPower(phaseVal, gDDS.isPowerDown());
  return 0;
}

static int cmdDdsPower(const struct shell *sh, size_t argc, char **argv) {
  if (argc < 2) {
    shell_error(sh, "Usage: dds power <0|1>");
    return -EINVAL;
  }
  bool pd = (strtoul(argv[1], NULL, 0) != 0);
  shell_print(sh, "Setting AD9850 power-down state to: %s", pd ? "POWER-DOWN" : "ACTIVE");
  gDDS.setPhaseAndPower(gDDS.getPhase(), pd);
  return 0;
}

static int cmdDdsStatus(const struct shell *sh, size_t argc, char **argv) {
  shell_print(sh, "--- AD9850 DDS Live Status ---");
  shell_print(sh, "  Output Freq: %.6f MHz (%u Hz)",
              static_cast<double>(gDDS.getFreqHz()) / 1000000.0, gDDS.getFreqHz());
  shell_print(sh, "  Ref Clock:   %.3f MHz (%u Hz)",
              static_cast<double>(gDDS.getRefClockHz()) / 1000000.0, gDDS.getRefClockHz());
  shell_print(sh, "  Phase Value: %u (%.2f degrees)",
              gDDS.getPhase(), static_cast<double>(gDDS.getPhase()) * 11.25);
  shell_print(sh, "  Power State: %s", gDDS.isPowerDown() ? "POWER-DOWN" : "ACTIVE");
  return 0;
}

SHELL_STATIC_SUBCMD_SET_CREATE(subDDS,
  SHELL_CMD(init, NULL, "Initialize AD9850 [ref_clock_hz]", cmdDdsInit),
  SHELL_CMD(freq, NULL, "Set frequency: freq <freq_hz> [ref_clock_hz]", cmdDdsFreq),
  SHELL_CMD(phase, NULL, "Set phase value: phase <0..31>", cmdDdsPhase),
  SHELL_CMD(power, NULL, "Set power down state: power <0|1>", cmdDdsPower),
  SHELL_CMD(status, NULL, "Print live AD9850 status", cmdDdsStatus),
  SHELL_SUBCMD_SET_END
);

SHELL_CMD_REGISTER(dds, &subDDS, "AD9850 DDS Controller Commands", NULL);

void initShellSi5351() {
}
```

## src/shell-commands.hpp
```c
#pragma once
#include "Si5351.hpp"
#include <zephyr/drivers/i2c.h>

extern Si5351 gSi5351;
extern const struct i2c_dt_spec gI2CSpec;

void initShellSi5351();
```

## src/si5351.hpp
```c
// SI5351 driver
//
// This driver assumes that clk0 and clk1 are outputs from the same
// frequency with clk0 at 0 degrees phase offset and clk1 at 180
// degrees phase offset - a push-pull clock. This assumption is
// convenient allowing these two clocks to be driven from the same
// SI5351 internal PLL.

// In general in this driver, if an API sets a thing's value it
// provides the thing's previous value as its return value.

// Several good ideas are taken from Pavel Milanes <pavelmc@gmail.com>
// to whom I am grateful for his diligence and experimental spirit.

/****************************************************************************
 *  This lib tricks:
 *
 * CLK0 will use PLLA
 * CLK1 will use PLLA
 * CLK2 will use PLLA
 *
 * Lib defaults
 * - XTAL is 26 Mhz.
 * - Always put the internal 8pF across the xtal legs to GND
 * - lowest power output (2mA)
 * - After the init all outputs are off, you need to enable them in your code.
 *
 * The correction procedure is not for the PPM as other libs, this
 * is just +/- Hz to the XTAL freq, you may get a click noise after
 * applying a correction
 *
 * The init procedure is mandatory as it set the Xtal (the default or a custom
 * one) and prepare the Wire (I2C) library for operation.
 ****************************************************************************/

#ifndef __SI5351_H__
#define __SI5351_H__

#include <stdint.h>

// default I2C address of the Si5351A - other variants may differ
#define SIADDR 0x60

// The number of output channels - 3 for Si5351A 10 pin
#define SICHANNELS 3

// register's power modifiers
#define SIOUT_2mA 0
#define SIOUT_4mA 1
#define SIOUT_6mA 2
#define SIOUT_8mA 3


// registers base (2mA by default)
#define SICLK0_R   76       // 0b01001100
#define SICLK12_R 108       // 0b01101100

class SI5351 {
public:
  static constexpr unsigned I2CAddress = 0x60; 	// I2C address of our target
  static constexpr int nChannels = 3;		// Number of channels in SI5351A

  enum DriveStrength {ds2mA, s4mA, ds6mA, ds8mA};
  enum PLLSource {pllSrcXTAL, pllSrcCLKIN};
  enum CLKINDivider {div1, div2, div4, div8};

  enum InterruptMask {
    intSysInit = 0x80,
    intLOL_B = 0x40,
    intLOL_A = 0x20,
    intLOS_CLKIN = 0x10,
    intLOS_XTAL = 0x08,
    intNO_CLEAR = 0xFF,
  };

private:
  DriveStrength driveStrength[nChannels];

  uint32_t clockHz;		// Nominal frequency of the CLKIN signal oscillator
  int32_t correctionHz = 0;	// Correction factor we apply to compensate for oscillator offset

  enum RegisterNumber {
    deviceStatus = 0,
    intStatusSticky = 1,
    intStatusMask = 2,
    outputDisable = 3,
    OEBPinDisable = 9,
    PLLInputSource = 15,
    clkControlBase = 16,
    clk0_3Disable = 24,
    clk4_7Disable = 25,
    msNABase = 26,		// 26..33
    msNBBase = 34,		// 34..41
    ms0Base = 42,		// 42..49
    ms1Base = 50,		// 50..57
    ms2Base = 58,		// 58..65
    ms3Base = 66,		// 66..73
    ms4Base = 74,		// 74..81
    ms5Base = 82,		// 82..89
    ms6 = 90,
    ms7 = 91,
    clock6_7Divider = 92,
    ssEnable = 149,
    VCXOParameterBase = 162,	// 162..164
    clkPhaseOffsetBase = 165,	// 0..5
    PLLReset = 177,
    crystalLoadCapacitance = 183,
    fanoutEnable = 187,
  };


  // local var to keep track of when to reset the "pll"
  /*********************************************************
   * BAD CONCEPT on the datasheet and AN:
   *
   * The chip has a soft-reset for PLL A & B but in
   * practice the PLL does not need to be reseted.
   *
   * Test shows that if you fix the Msynth output
   * dividers and move any of the VCO from bottom to top
   * the frequency moves smooth and clean, no reset needed
   *
   * The reset is needed when you changes the value of the
   * Msynth output divider, even so it's not always needed
   * so we use this var to keep track of all three and only
   * reset the "PLL" when this value changes to be sure
   *
   * It's a word (16 bit) because the final max value is 900
   *********************************************************/
  uint16_t  omsynth[SICHANNELS] = { 0 };
  uint8_t   o_Rdiv[SICHANNELS] = { 0 };

public:
  // var to check the clock state
  bool clkOn[SICHANNELS] = { 0 };     // This should not really be public - use isEnabled()

public:
  SI5351A(uint32_t clkinHz = 26*1000*1000);

  void reset();

  void setPLLASource(PLLSource src);
  void setPLLBSource(PLLSource src);
  void setCLKINDivider(CLKINDivider div);

  InterruptMask getIntStatus();
  InterruptMask getSetIntStatusSticky(InterruptMask write0ToClear);

  uint8_t getCLKsDisabled(uint8_t clkMask);
  uint8_t setCLKsDisabled(uint8_t clkMask);


  // default init procedure
  void init(void);

  // custom init procedure (XTAL in Hz);
  void init(uint32_t refHz);

  // reset all PLLs
  static void reset(void);

  // set CLKx(0..2) to freq (Hz)
  void setFreq(uint8_t clkNum, uint32_t freqHz);

  // pass a correction factor (signed offset in Hz).
  void correction(int32_t realRefOffsetFromPresumedHz);

  // enable some CLKx output
  void enable(uint8_t clkNum);

  // disable some CLKx output
  void disable(uint8_t clkNum);

  // disable all outputs
  void off(void);

  // set power output to a specific clk
  void setPower(uint8_t clkNum, uint8_t driveStrengthInmA);

  // used to talk with the chip, via Arduino Wire lib
  //
  // declared as static, since they do not reference any this-> class attributes
  //
  static void     i2cWrite( const uint8_t reg, const uint8_t val );
  static uint8_t  i2cWriteBurst( const uint8_t start_register, const uint8_t *data, const uint8_t numbytes );
  static int16_t  i2cRead( const uint8_t reg );
        
  inline const bool isEnabled( const uint8_t channel ) {
    return channel < SICHANNELS && clkOn[ channel ] != 0;
  };
        
  inline const uint8_t getPower( const uint8_t channel ) {
    return channel < SICHANNELS ? clkpower[ channel ] : 0;  
  };

  inline const uint32_t getXtalBase( void ) {
    return base_xtal;
  };

  inline const uint32_t getXtalCurrent( void ) {
    return int_xtal;
  };
        
};


#endif //__SI5351_H__
```
